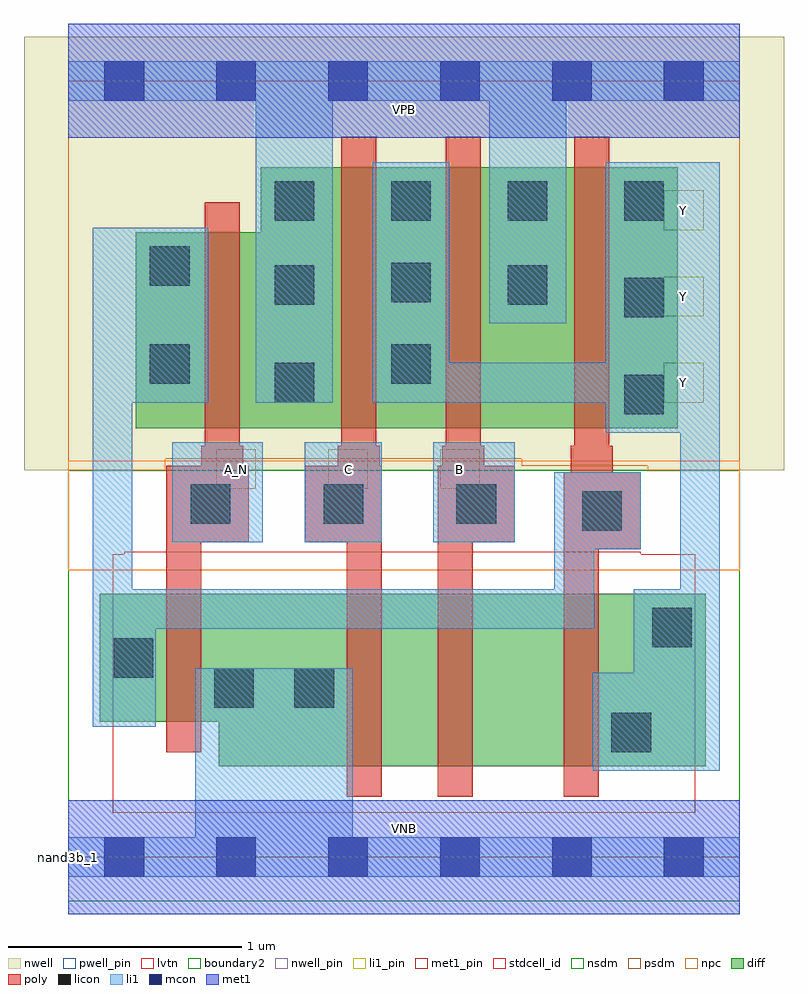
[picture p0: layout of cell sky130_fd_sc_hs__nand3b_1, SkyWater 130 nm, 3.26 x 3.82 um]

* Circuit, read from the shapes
.subckt sky130_fd_sc_hs__nand3b_1 A_N B C VGND VNB VPB VPWR Y
XM1 VGND A_N n1 VNB sky130_fd_pr__nfet_01v8_lvt w=0.55 l=0.15
XM2 n2 C VGND VNB sky130_fd_pr__nfet_01v8_lvt w=0.74 l=0.15
XM3 n3 B n2 VNB sky130_fd_pr__nfet_01v8_lvt w=0.74 l=0.15
XM4 Y n1 n3 VNB sky130_fd_pr__nfet_01v8_lvt w=0.74 l=0.15
XM5 VPWR A_N n1 VPB sky130_fd_pr__pfet_01v8 w=0.84 l=0.15
XM6 Y C VPWR VPB sky130_fd_pr__pfet_01v8 w=1.12 l=0.15
XM7 VPWR B Y VPB sky130_fd_pr__pfet_01v8 w=1.12 l=0.15
XM8 Y n1 VPWR VPB sky130_fd_pr__pfet_01v8 w=1.12 l=0.15
.ends

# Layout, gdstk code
import gdstk
lib = gdstk.Library(unit=1e-6, precision=1e-09)
def R(c, l, rs):  # rectangles x0, y0, x1, y1
    for r in rs: c.add(gdstk.rectangle(r[:2], r[2:], *l))
def A(c, l, x, y, w, h, nx, ny, dx, dy):  # array of equal rectangles
    R(c, l, [(x+i*dx, y+j*dy, x+i*dx+w, y+j*dy+h) for i in range(nx) for j in range(ny)])
def P(c, l, *ps):  # polygons
    for p in ps: c.add(gdstk.Polygon(p, *l))
nwell_pin = (64, 16)
nwell = (64, 20)
diff = (65, 20)
poly = (66, 20)
licon = (66, 44)
li1_pin = (67, 16)
li1 = (67, 20)
mcon = (67, 44)
met1_pin = (68, 16)
met1 = (68, 20)
stdcell_id = (81, 4)
nsdm = (93, 44)
psdm = (94, 20)
npc = (95, 20)
pwell_pin = (122, 16)
lvtn = (125, 44)
boundary2 = (236, 0)

sky130_fd_sc_hs__nand3b_ = lib.new_cell('sky130_fd_sc_hs__nand3b_1')
R(sky130_fd_sc_hs__nand3b_, nwell_pin, [(0,3.085,2.88,3.33)])
R(sky130_fd_sc_hs__nand3b_, nwell, [(-0.19,1.66,3.07,3.52)])
P(sky130_fd_sc_hs__nand3b_, diff, [(2.615,2.96),(0.825,2.96),(0.825,2.68),(0.29,2.68),(0.29,1.84),(2.615,1.84)],
  [(2.735,1.13),(0.135,1.13),(0.135,0.58),(0.645,0.58),(0.645,0.39),(2.735,0.39)])
P(sky130_fd_sc_hs__nand3b_, poly, [(2.455,1.65),(2.335,1.65),(2.335,1.765),(2.32,1.765),(2.32,3.09),(2.17,3.09),(2.17,1.765),(2.155,1.765),(2.155,1.65),(2.125,1.65),(2.125,0.26),(2.275,0.26),(2.275,1.32),(2.455,1.32)],
  [(1.915,1.68),(1.785,1.68),(1.785,1.765),(1.77,1.765),(1.77,3.09),(1.62,3.09),(1.62,1.765),(1.605,1.765),(1.605,1.68),(1.585,1.68),(1.585,0.26),(1.735,0.26),(1.735,1.35),(1.915,1.35)],
  [(1.345,1.68),(1.335,1.68),(1.335,1.765),(1.32,1.765),(1.32,3.09),(1.17,3.09),(1.17,1.765),(1.155,1.765),(1.155,1.68),(1.015,1.68),(1.015,1.35),(1.195,1.35),(1.195,0.26),(1.345,0.26)],
  [(0.775,1.68),(0.75,1.68),(0.75,1.765),(0.735,1.765),(0.735,2.81),(0.585,2.81),(0.585,1.765),(0.57,1.765),(0.57,1.68),(0.42,1.68),(0.42,0.45),(0.57,0.45),(0.57,1.35),(0.775,1.35)])
A(sky130_fd_sc_hs__nand3b_, licon, 0.525, 1.43, 0.17, 0.17, 3, 1, 0.57, 0)
A(sky130_fd_sc_hs__nand3b_, licon, 0.885, 2.73, 0.17, 0.17, 4, 1, 0.5, 0)
R(sky130_fd_sc_hs__nand3b_, licon, [(2.33,0.45,2.5,0.62), (0.625,0.64,0.795,0.81), (0.97,0.64,1.14,0.81), (0.195,0.77,0.365,0.94), (2.505,0.9,2.675,1.07), (2.205,1.4,2.375,1.57), (2.385,1.9,2.555,2.07), (0.885,1.95,1.055,2.12), (0.35,2.03,0.52,2.2), (1.385,2.03,1.555,2.2), (2.385,2.315,2.555,2.485), (0.885,2.37,1.055,2.54), (1.885,2.37,2.055,2.54), (1.385,2.38,1.555,2.55), (0.35,2.45,0.52,2.62)])
A(sky130_fd_sc_hs__nand3b_, li1_pin, 0.635, 1.58, 0.17, 0.17, 3, 1, 0.48, 0)
A(sky130_fd_sc_hs__nand3b_, li1_pin, 2.555, 1.95, 0.17, 0.17, 1, 3, 0, 0.37)
R(sky130_fd_sc_hs__nand3b_, li1, [(0.445,1.35,0.835,1.78), (1.015,1.35,1.345,1.78), (1.565,1.35,1.915,1.78)])
P(sky130_fd_sc_hs__nand3b_, li1, [(2.455,1.65),(2.085,1.65),(2.085,1.15),(0.275,1.15),(0.275,1.95),(0.6,1.95),(0.6,2.7),(0.105,2.7),(0.105,0.56),(0.375,0.56),(0.375,0.98),(2.255,0.98),(2.255,1.32),(2.455,1.32)],
  [(2.88,0.085),(1.22,0.085),(1.22,0.81),(0.545,0.81),(0.545,0.085),(0,0.085),(0,-0.085),(2.88,-0.085)],
  [(2.88,3.415),(0,3.415),(0,3.245),(0.805,3.245),(0.805,1.95),(1.135,1.95),(1.135,3.245),(1.805,3.245),(1.805,2.29),(2.135,2.29),(2.135,3.245),(2.88,3.245)],
  [(2.795,2.98),(2.305,2.98),(2.305,2.12),(1.635,2.12),(1.635,2.98),(1.305,2.98),(1.305,1.95),(2.305,1.95),(2.305,1.82),(2.625,1.82),(2.625,1.15),(2.425,1.15),(2.425,0.79),(2.25,0.79),(2.25,0.37),(2.795,0.37)])
A(sky130_fd_sc_hs__nand3b_, mcon, 0.155, -0.085, 0.17, 0.17, 6, 2, 0.48, 3.33)
R(sky130_fd_sc_hs__nand3b_, met1_pin, [(0,0,2.88,0.245), (0,3.085,2.88,3.33)])
R(sky130_fd_sc_hs__nand3b_, met1, [(0,-0.245,2.88,0.245), (0,3.085,2.88,3.575)])
R(sky130_fd_sc_hs__nand3b_, stdcell_id, [(0,0,2.88,3.33)])
R(sky130_fd_sc_hs__nand3b_, nsdm, [(0,-0.19,2.88,1.66)])
P(sky130_fd_sc_hs__nand3b_, psdm, [(2.88,3.52),(0,3.52),(0,1.66),(0.415,1.66),(0.415,1.71),(1.945,1.71),(1.945,1.68),(2.485,1.68),(2.485,1.66),(2.88,1.66)])
R(sky130_fd_sc_hs__nand3b_, npc, [(0,1.23,2.88,1.7)])
R(sky130_fd_sc_hs__nand3b_, pwell_pin, [(0,0,2.88,0.245)])
P(sky130_fd_sc_hs__nand3b_, lvtn, [(2.69,1.3),(2.455,1.3),(2.455,1.31),(0.24,1.31),(0.24,1.3),(0.19,1.3),(0.19,0.19),(2.69,0.19)])
R(sky130_fd_sc_hs__nand3b_, boundary2, [(0,0,2.88,3.33)])
sky130_fd_sc_hs__nand3b_.add(gdstk.Label('nand3b_1', (0,0), layer=83, texttype=44))
sky130_fd_sc_hs__nand3b_.add(gdstk.Label('VNB', (1.44,0.123), layer=64, texttype=59))
sky130_fd_sc_hs__nand3b_.add(gdstk.Label('VPB', (1.44,3.208), layer=64, texttype=5))
sky130_fd_sc_hs__nand3b_.add(gdstk.Label('VPWR', (1.44,3.208), layer=68, texttype=5))
sky130_fd_sc_hs__nand3b_.add(gdstk.Label('VGND', (1.44,0.123), layer=68, texttype=5))
sky130_fd_sc_hs__nand3b_.add(gdstk.Label('A_N', (0.72,1.665), layer=67, texttype=5))
sky130_fd_sc_hs__nand3b_.add(gdstk.Label('C', (1.2,1.665), layer=67, texttype=5))
sky130_fd_sc_hs__nand3b_.add(gdstk.Label('Y', (2.64,2.035), layer=67, texttype=5))
sky130_fd_sc_hs__nand3b_.add(gdstk.Label('Y', (2.64,2.405), layer=67, texttype=5))
sky130_fd_sc_hs__nand3b_.add(gdstk.Label('Y', (2.64,2.775), layer=67, texttype=5))
sky130_fd_sc_hs__nand3b_.add(gdstk.Label('B', (1.68,1.665), layer=67, texttype=5))

lib.write_gds('sky130_fd_sc_hs__nand3b_1.gds')
